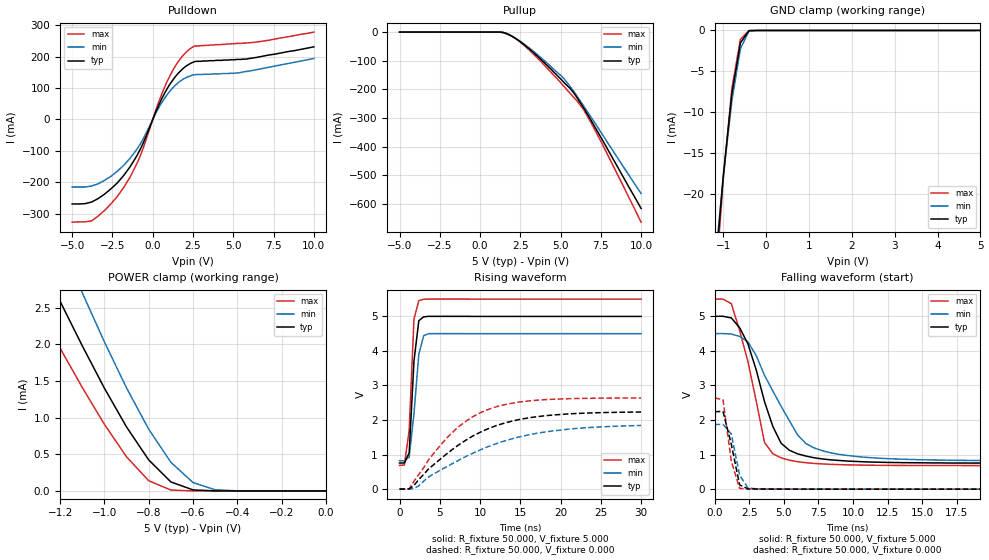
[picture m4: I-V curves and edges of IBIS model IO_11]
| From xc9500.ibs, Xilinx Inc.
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|   Model IO_11
[Model]   IO_11
Model_type   I/O
Polarity   Non-Inverting
Enable   Active-High
Vinl =   0.800V
Vinh =   2.000V
Vmeas =   2.500V
Cref =  50.000pF
Rref =   1.000M
Vref =  0.000V
C_comp   8.000pF   6.000pF   10.000pF
[Temperature Range]   50.000   100.000   0.000
[Voltage Range]   5.000V   4.500V   5.500V
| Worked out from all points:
|   slope of the pulldown table from 0 to 0.75 V, typ, clamps not added: 8.86 ohm
|   GND clamp passes 1 mA (typ) near -0.53 V on its own axis
|   POWER clamp passes 1 mA (typ) near -0.92 V on its own axis
|   rising waveform, R_fixture 50.000, V_fixture 5.000: 20-80 % time 701ps typ, 851ps min, 556ps max; typ from 0.753 V to 5 V
|   rising waveform, R_fixture 50.000, V_fixture 0.000: 20-80 % time 8.34ns typ, 10.5ns min, 6.51ns max; typ from 0 V to 2.23 V
|   falling waveform, R_fixture 50.000, V_fixture 5.000: 20-80 % time 2.02ns typ, 2.92ns min, 1.62ns max; typ from 5 V to 0.753 V
|   falling waveform, R_fixture 50.000, V_fixture 0.000: 20-80 % time 746ps typ, 604ps min, 657ps max; typ from 2.24 V to 0 V
[Pulldown]
| voltage   I(typ)   I(min)   I(max)
-5V       -269mA     -215mA     -327mA
-3.8V     -263mA     -212mA     -323mA
-2.6V     -221mA     -181mA     -269mA
-1.8V     -178mA     -146mA     -216mA
-800mV    -97.55mA   -79.99mA   -119mA
300mV     37.26mA    30.39mA    45.54mA
900mV     98.33mA    79.25mA    122mA
1.5V      142mA      113mA      178mA
2.2V      174mA      136mA      220mA
2.6V      184mA      142mA      234mA
5.3V      191mA      148mA      242mA
10V       231mA      194mA      278mA
[Pullup]
| voltage   I(typ)   I(min)   I(max)
-5V       0A         0A         0A
1.3V      -273uA     -843uA     -21.01uA
1.8V      -9.1mA     -9.856mA   -8.419mA
2.4V      -29.57mA   -28.78mA   -30.92mA
3.6V      -85.9mA    -80.57mA   -92.72mA
5.1V      -169mA     -156mA     -183mA
5.6V      -197mA     -191mA     -214mA
5.8V      -211mA     -206mA     -227mA
6.4V      -262mA     -255mA     -268mA
6.8V      -299mA     -289mA     -307mA
7.6V      -377mA     -358mA     -392mA
10V       -616mA     -564mA     -664mA
[GND_clamp]
| voltage   I(typ)   I(min)   I(max)
-5V       -382mA     -334mA     -435mA
-1.2V     -30.21mA   -28.94mA   -32.31mA
-1V       -17.79mA   -17.84mA   -18.17mA
-800mV    -7.754mA   -8.624mA   -7.105mA
-600mV    -1.523mA   -2.242mA   -1.096mA
-400mV    -25.36uA   -70.36uA   -7.543uA
5V        1.077nA    15.87uA    68.4pA
[POWER_clamp]
| voltage   I(typ)   I(min)   I(max)
-5V       28.53mA    33.14mA    24.98mA
-1.4V     3.852mA    4.851mA    3.071mA
-1.3V     3.213mA    4.12mA     2.503mA
-1.2V     2.588mA    3.403mA    1.948mA
-1.1V     1.981mA    2.705mA    1.412mA
-1V       1.402mA    2.034mA    909uA
-900mV    872uA      1.405mA    464uA
-800mV    423uA      842uA      139uA
-700mV    123uA      391uA      11.97uA
-600mV    13.69uA    114uA      250nA
-500mV    553nA      15.87uA    3.499nA
0V        1.077nA    10.78nA    86.2pA
[Ramp]
| variable   typ   min   max
dV/dt_r   1.339/8.477n   1.104/10.471n   1.583/6.675n
dV/dt_f   2.548/2.112n   2.208/3.028n   2.890/1.536n
R_load = 50.000
[Rising Waveform]
R_fixture = 50.000
V_fixture = 5.000
V_fixture_min = 4.500
V_fixture_max = 5.500
L_fixture = 0.000H
C_fixture = 0.000F
| time   V(typ)   V(min)   V(max)
0s        753mV      820mV      683mV
600ps     756mV      819mV      694mV
1.2ns     1.045V     923mV      1.695V
1.8ns     3.71V      2.192V     4.928V
2.4ns     4.875V     3.906V     5.456V
3ns       4.986V     4.44V      5.497V
3.6ns     5.001V     4.499V     5.502V
30ns      5V         4.5V       5.5V
[Rising Waveform]
R_fixture = 50.000
V_fixture = 0.000
V_fixture_min = 0.000
V_fixture_max = 0.000
L_fixture = 0.000H
C_fixture = 0.000F
| time   V(typ)   V(min)   V(max)
0s        -21.94uV   -21.46uV   -11.52uV
1.2ns     3.031mV    -3.212mV   8.709mV
2.4ns     278mV      93.86mV    423mV
4.2ns     698mV      432mV      1.022V
7.2ns     1.255V     815mV      1.778V
9ns       1.522V     1.025V     2.082V
10.8ns    1.727V     1.209V     2.284V
14.4ns    1.989V     1.483V     2.502V
18.6ns    2.134V     1.671V     2.595V
30ns      2.231V     1.84V      2.638V
[Falling Waveform]
R_fixture = 50.000
V_fixture = 5.000
V_fixture_min = 4.500
V_fixture_max = 5.500
L_fixture = 0.000H
C_fixture = 0.000F
| time   V(typ)   V(min)   V(max)
0s        5V         4.5V       5.5V
1.2ns     4.955V     4.489V     5.368V
1.8ns     4.673V     4.419V     4.592V
2.4ns     4.204V     4.261V     3.693V
3.6ns     2.532V     3.293V     1.351V
4.2ns     1.816V     2.84V      1.024V
4.8ns     1.328V     2.4V       905mV
6.6ns     957mV      1.317V     765mV
9ns       830mV      1.006V     710mV
30ns      753mV      820mV      683mV
[Falling Waveform]
R_fixture = 50.000
V_fixture = 0.000
V_fixture_min = 0.000
V_fixture_max = 0.000
L_fixture = 0.000H
C_fixture = 0.000F
| time   V(typ)   V(min)   V(max)
0s        2.241V     1.872V     2.64V
600ps     2.249V     1.874V     2.585V
1.2ns     1.301V     1.595V     816mV
1.8ns     123mV      407mV      22.07mV
2.4ns     9.705mV    38.86mV    5.345mV
3ns       4.468mV    7.918mV    3.733mV
30ns      3.496uV    5.368uV    -1.972uV
